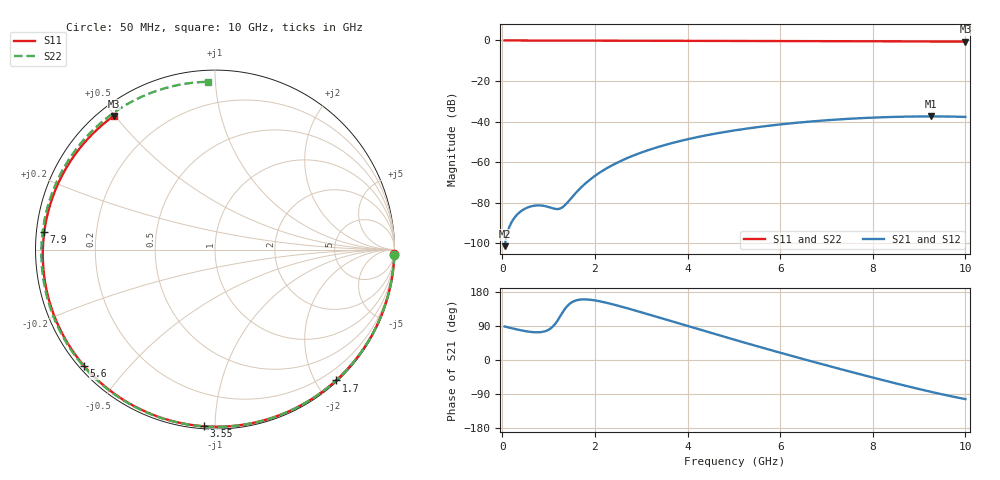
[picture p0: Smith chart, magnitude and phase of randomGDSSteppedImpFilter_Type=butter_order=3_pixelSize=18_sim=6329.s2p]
! freq	dB(S11)	phase(S11)	dB(S12)	phase(S12)
!  dB(S21)	phase(S21)	dB(S22)	phase(S22)
!S-par simulation data
#  GHz  S  DB  R 50
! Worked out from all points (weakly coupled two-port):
!   200 points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, 50 MHz to 10 GHz, reference 50 ohm
!   highest |S21| = -37.45 dB at 9.25 GHz (marker M1); lowest = -101.4 dB at 50 MHz (marker M2)
!   lowest |S11| = -0.6 dB at 10 GHz (marker M3), VSWR 29.44, Z = 2.12 + j24.8 ohm
!   |S11| at or under -10 dB: nowhere
!   |S22| runs from -0.6 to 0.0 dB; largest |S21 - S12| = 0
!   S11 on the Smith chart (normalised r, x): 50 MHz: 0, -80; 1.7 GHz: 0.02, -2.29; 3.55 GHz: 0.01, -0.94; 5.6 GHz: 0.01, -0.38; 7.9 GHz: 0.02, +0.05; 10 GHz: 0.04, +0.50
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0.05  -0.00 -1.4  -101.44 88.5  -101.44 88.5  -0.00 -1.7
0.35  -0.01 -9.9  -85.20 79.7  -85.20 79.7  -0.02 -11.9
0.7  -0.03 -19.8  -81.45 73.2  -81.45 73.2  -0.03 -23.7
1.4  -0.05 -39.2  -80.11 142.0  -80.11 142.0  -0.06 -46.6
1.7  -0.06 -47.2  -72.52 159.7  -72.52 159.7  -0.07 -56.0
1.75  -0.06 -48.6  -71.43 160.0  -71.43 160.0  -0.07 -57.6
2.05  -0.07 -56.5  -65.98 156.2  -65.98 156.2  -0.08 -66.7
2.45  -0.08 -66.7  -60.63 144.9  -60.63 144.9  -0.10 -78.6
2.9  -0.10 -78.0  -56.13 129.5  -56.13 129.5  -0.11 -91.3
3.4  -0.11 -90.0  -52.29 111.5  -52.29 111.5  -0.13 -104.8
3.55  -0.12 -93.5  -51.31 106.0  -51.31 106.0  -0.13 -108.7
4.3  -0.15 -110.6  -47.25 78.8  -47.25 78.8  -0.16 -127.5
5.05  -0.18 -126.9  -44.23 52.1  -44.23 52.1  -0.20 -145.4
5.6  -0.21 -138.4  -42.48 33.0  -42.48 33.0  -0.23 -158.1
6.15  -0.25 -149.8  -41.05 14.2  -41.05 14.2  -0.26 -170.5
6.7  -0.29 -161.1  -39.89 -4.2  -39.89 -4.2  -0.30 177.0
7.3  -0.34 -173.4  -38.89 -23.9  -38.89 -23.9  -0.34 163.2
7.9  -0.39 174.1  -38.15 -43.2  -38.15 -43.2  -0.39 149.1
8.35  -0.43 164.6  -37.76 -57.2  -37.76 -57.2  -0.42 138.0
9.25  -0.52 144.7  -37.45 -83.8  -37.45 -83.8  -0.50 114.4
9.65  -0.56 135.5  -37.52 -94.6  -37.52 -94.6  -0.54 103.0
10  -0.59 127.1  -37.70 -103.2  -37.70 -103.2  -0.58 92.4
